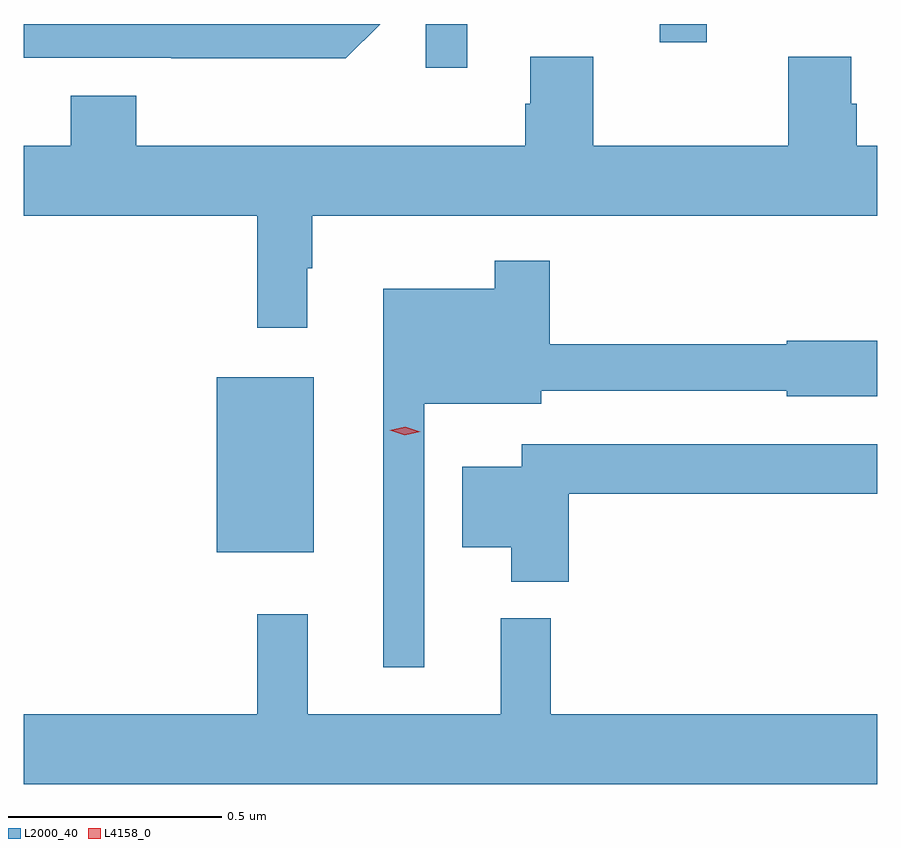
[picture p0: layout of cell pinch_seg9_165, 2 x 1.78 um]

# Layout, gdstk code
import gdstk
lib = gdstk.Library(unit=1e-6, precision=1e-09)
def R(c, l, rs):  # rectangles x0, y0, x1, y1
    for r in rs: c.add(gdstk.rectangle(r[:2], r[2:], *l))
def P(c, l, *ps):  # polygons
    for p in ps: c.add(gdstk.Polygon(p, *l))
L2000_40 = (2000, 40)
L4158_0 = (4158, 0)

pinch_seg9_165 = lib.new_cell('pinch_seg9_165')
R(pinch_seg9_165, L2000_40, [(659.294,1171.655,659.521,1172.065), (659.784,1172.79,659.881,1172.893), (660.332,1172.85,660.443,1172.893)])
P(pinch_seg9_165, L2000_40, [(659.677,1172.893),(658.842,1172.893),(658.842,1172.814),(659.188,1172.814),(659.188,1172.813),(659.596,1172.813)],
  [(659.506,1172.321),(659.518,1172.321),(659.518,1172.444),(660.842,1172.444),(660.842,1172.608),(660.794,1172.608),(660.794,1172.706),(660.781,1172.706),(660.781,1172.816),(660.634,1172.816),(660.634,1172.608),(660.177,1172.608),(660.177,1172.816),(660.029,1172.816),(660.029,1172.706),(660.017,1172.706),(660.017,1172.608),(659.105,1172.608),(659.105,1172.725),(658.952,1172.725),(658.952,1172.608),(658.842,1172.608),(658.842,1172.444),(659.389,1172.444),(659.389,1172.181),(659.506,1172.181)],
  [(659.781,1172.003),(660.055,1172.003),(660.055,1172.034),(660.63,1172.034),(660.63,1172.021),(660.842,1172.021),(660.842,1172.151),(660.63,1172.151),(660.63,1172.143),(660.074,1172.143),(660.074,1172.338),(659.946,1172.338),(659.946,1172.272),(659.684,1172.272),(659.684,1171.386),(659.781,1171.386)],
  [(660.119,1171.792),(660.842,1171.792),(660.842,1171.908),(660.009,1171.908),(660.009,1171.855),(659.87,1171.855),(659.87,1171.667),(659.984,1171.667),(659.984,1171.586),(660.119,1171.586)],
  [(660.842,1171.276),(660.077,1171.276),(660.077,1171.501),(659.96,1171.501),(659.96,1171.276),(659.507,1171.276),(659.507,1171.51),(659.389,1171.51),(659.389,1171.276),(658.842,1171.276),(658.842,1171.112),(660.842,1171.112)])
P(pinch_seg9_165, L4158_0, [(659.735,1171.929),(659.7,1171.941),(659.7,1171.941),(659.7,1171.941),(659.736,1171.949),(659.771,1171.938),(659.771,1171.938),(659.771,1171.938)])

lib.write_gds('pinch_seg9_165.gds')
